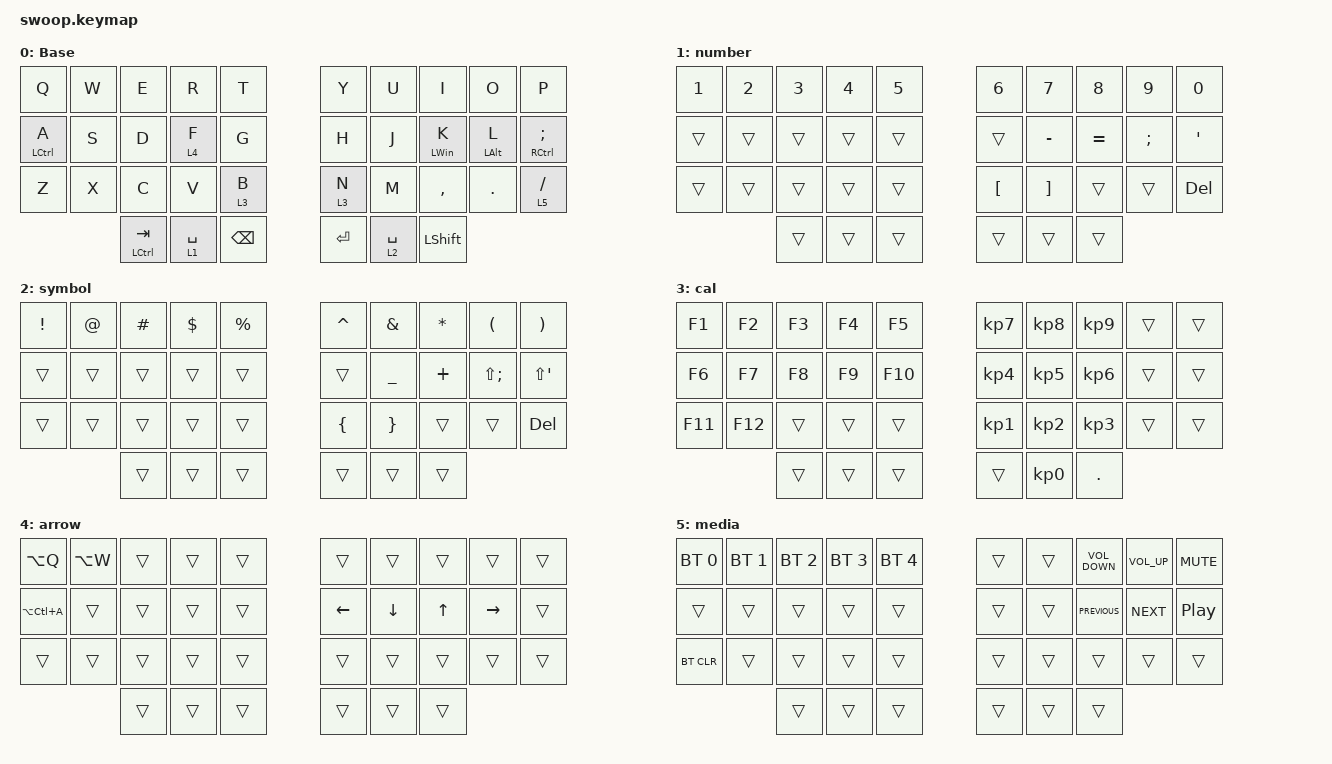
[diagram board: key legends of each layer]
/*
 * Copyright (c) 2020 duckyb
 *
 * SPDX-License-Identifier: MIT
 */

#include <behaviors.dtsi>
#include <dt-bindings/zmk/bt.h>
#include <dt-bindings/zmk/keys.h>

/ {
    behaviors {
        tab_esc_ctrl: tab_esc_ctrl {
            compatible = "zmk,behavior-tap-dance";
            label = "TAB_ESC_CTRL";
            #binding-cells = <0>;
            bindings = <&mt LCTRL ESC>, <&kp TAB>;
        };

        gqt: global-quick-tap {
            compatible = "zmk,behavior-hold-tap";
            label = "GLOBAL_QUICK_TAP";
            bindings = <&kp>, <&kp>;

            #binding-cells = <2>;
            quick-tap-ms = <180>;
            tapping-term-ms = <200>;
            global-quick-tap;
            flavor = "tap-preferred";
        };

        ltq: ltq {
            compatible = "zmk,behavior-hold-tap";
            label = "LTQ";
            bindings = <&mo>, <&kp>;

            #binding-cells = <2>;
            global-quick-tap;
            tapping-term-ms = <200>;
            quick-tap-ms = <180>;
        };

        layerholdtap: layerholdtap {
            compatible = "zmk,behavior-hold-tap";
            label = "LAYERHOLDTAP";
            bindings = <&lt>, <&kp>;

            #binding-cells = <2>;
            tapping-term-ms = <200>;
            quick-tap-ms = <180>;
            flavor = "tap-preferred";
        };
    };

    combos {
        compatible = "zmk,combos";

        bac {
            bindings = <&kp BACKSLASH>;
            key-positions = <4 5>;
        };

        pipe {
            bindings = <&kp PIPE>;
            key-positions = <14 15>;
        };

        esc {
            bindings = <&kp ESC>;
            key-positions = <0 1>;
        };

        caps {
            bindings = <&kp CAPSLOCK>;
            key-positions = <10 11>;
        };
    };

    macros {
    };

    keymap {
        compatible = "zmk,keymap";

        base {
            label = "Base";
            bindings = <
&kp Q         &kp W  &kp E           &kp R        &kp T            &kp Y      &kp U         &kp I            &kp O            &kp P
&gqt LCTRL A  &kp S  &kp D           &lt 4 F      &kp G            &kp H      &kp J         &gqt LEFT_WIN K  &gqt LEFT_ALT L  &gqt RCTRL SEMICOLON
&kp Z         &kp X  &kp C           &kp V        &lt 3 B          &lt 3 N    &kp M         &kp COMMA        &kp DOT          &lt 5 SLASH
                     &gqt LCTRL TAB  &lt 1 SPACE  &kp BACKSPACE    &kp ENTER  &ltq 2 SPACE  &kp LEFT_SHIFT
            >;
        };

        number {
            bindings = <
&kp NUMBER_1  &kp NUMBER_2  &kp NUMBER_3  &kp NUMBER_4  &kp N5    &kp NUMBER_6      &kp NUMBER_7       &kp N8     &kp NUMBER_9   &kp N0
&trans        &trans        &trans        &trans        &trans    &trans            &kp MINUS          &kp EQUAL  &kp SEMICOLON  &kp SQT
&trans        &trans        &trans        &trans        &trans    &kp LEFT_BRACKET  &kp RIGHT_BRACKET  &trans     &trans         &kp DELETE
                            &trans        &trans        &trans    &trans            &trans             &trans
            >;
        };

        symbol {
            bindings = <
&kp EXCLAMATION  &kp AT_SIGN  &kp HASH  &kp DOLLAR  &kp PERCENT    &kp CARET       &kp AMPERSAND    &kp ASTRK  &kp LEFT_PARENTHESIS  &kp RIGHT_PARENTHESIS
&trans           &trans       &trans    &trans      &trans         &trans          &kp UNDERSCORE   &kp PLUS   &kp LS(SEMICOLON)     &kp LS(SINGLE_QUOTE)
&trans           &trans       &trans    &trans      &trans         &kp LEFT_BRACE  &kp RIGHT_BRACE  &trans     &trans                &kp DEL
                              &trans    &trans      &trans         &trans          &trans           &trans
            >;
        };

        cal {
            bindings = <
&kp F1   &kp F2   &kp F3  &kp F4  &kp F5     &kp KP_N7        &kp KP_NUMBER_8  &kp KP_NUMBER_9  &trans  &trans
&kp F6   &kp F7   &kp F8  &kp F9  &kp F10    &kp KP_NUMBER_4  &kp KP_NUMBER_5  &kp KP_NUMBER_6  &trans  &trans
&kp F11  &kp F12  &trans  &trans  &trans     &kp KP_NUMBER_1  &kp KP_NUMBER_2  &kp KP_NUMBER_3  &trans  &trans
                  &trans  &trans  &trans     &trans           &kp KP_NUMBER_0  &kp DOT
            >;
        };

        arrow {
            bindings = <
&kp LA(Q)      &kp LA(W)  &trans  &trans  &trans    &trans          &trans          &trans        &trans     &trans
&kp LA(LC(A))  &trans     &trans  &trans  &trans    &kp LEFT_ARROW  &kp DOWN_ARROW  &kp UP_ARROW  &kp RIGHT  &trans
&trans         &trans     &trans  &trans  &trans    &trans          &trans          &trans        &trans     &trans
                          &trans  &trans  &trans    &trans          &trans          &trans
            >;
        };

        media {
            bindings = <
&bt BT_SEL 0  &bt BT_SEL 1  &bt BT_SEL 2  &bt BT_SEL 3  &bt BT_SEL 4    &trans  &trans  &kp C_VOLUME_DOWN  &kp C_VOLUME_UP  &kp C_MUTE
&trans        &trans        &trans        &trans        &trans          &trans  &trans  &kp C_PREVIOUS     &kp C_NEXT       &kp C_PLAY_PAUSE
&bt BT_CLR    &trans        &trans        &trans        &trans          &trans  &trans  &trans             &trans           &trans
                            &trans        &trans        &trans          &trans  &trans  &trans
            >;
        };
    };
};
